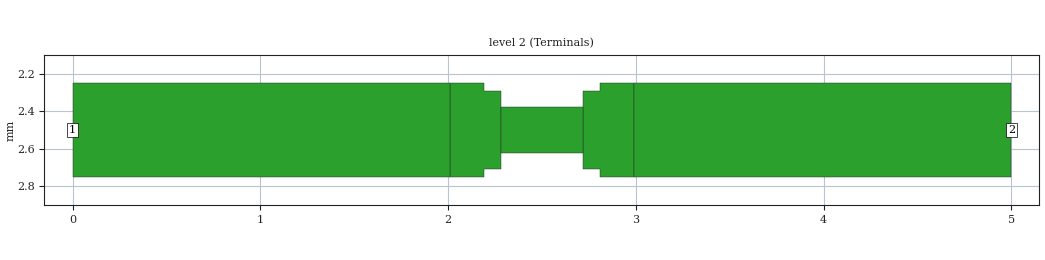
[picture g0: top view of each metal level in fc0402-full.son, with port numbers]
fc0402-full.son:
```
FTYP SONPROJ 19 ! Sonnet Project File
VER 18.52
HEADER
LIC antikernel2.1.51176
DAT 11/28/2021 23:45:44
BUILT_BY_CREATED xgeom 18.52 11/28/2021 22:49:20
BUILT_BY_SAVED sonnet 18.52
MDATE 11/28/2021 23:45:44
HDATE 11/28/2021 23:45:44
END HEADER
DIM
ANG DEG
CAP PF
CON /OH
FREQ GHZ
IND NH
LNG MM
RES OH
END DIM
CONTROL
VARSWP
OPTIONS  -dj
SPEED 0
CACHE_ABS 2
Q_ACC N
END CONTROL
GEO
SYM
DRP1 LEFT LINK
POLY 141 1
0
DRP1 RIGHT LINK
POLY 137 1
0
TMET "Free Space" 0 FREESPACE 376.7303136 0 0 0
BMET "Free Space" 0 FREESPACE 376.7303136 0 0 0
MET "Copper" 1 TMM 58000000 0.5 0.0175 2
MET "Metal1" 2 RES 110  0.005
BRI "Alumina" 1 9.9 0.0001 0 
BOX 3 5 5 1000 1000 20 0
      5 1 1 0 0 0 0 "Air"
      0.381 1 1 0 0 0 5 "Air"
      0.0175 1 1 0 0 0 5 "Air"
      5 1 1 0 0 0 0 "Substrate"
TECHLAY BRICK Body <UNSPECIFIED> -4 -65534 
BRI POLY
1 0 1 N 190 1 1 100 100 0 0 0 Y
END
END
TECHLAY METAL Terminals <UNSPECIFIED> -2 -65534 
2 0 0 N 112 1 1 100 100 0 0 0 Y
END
END
TECHLAY METAL Resistor <UNSPECIFIED> -3 -65534 
2 0 1 N 116 1 1 100 100 0 0 0 Y
END
END
DIM STD XDIR 1
POS 0.4058644552 -0.06572821911
NOM 0.18
REF1 POLY 34 1
5
REF2 POLY 34 1
4
END
DIM STD YDIR -1
POS -0.1416768771 -0.2174602059
NOM 0.5
REF1 POLY 34 1
6
REF2 POLY 34 1
5
END
DIM STD XDIR -1
POS -0.0329053812 -0.005911455394
NOM 0.09
REF1 POLY 34 1
2
REF2 POLY 34 1
3
END
DIM STD YDIR -1
POS 0.02874469196 -0.08764620787
NOM 0.09
REF1 POLY 38 1
0
REF2 POLY 34 1
2
END
DIM STD YDIR -1
POS 0.04065680991 -0.0764893289
NOM 0.09
REF1 POLY 34 1
1
REF2 POLY 38 1
3
END
DIM STD YDIR -1
POS -0.1065980287 -0.200907452
NOM 0.24
REF1 POLY 38 1
2
REF2 POLY 38 1
1
END
DIM STD XDIR 1
POS 0.0329053812 -0.005911455394
NOM 0.09
REF1 POLY 45 1
2
REF2 POLY 45 1
3
END
DIM STD XDIR -1
POS -0.5675764103 -0.09343634565
NOM 1.02
REF1 POLY 81 1
1
REF2 POLY 81 1
0
END
DIM STD YDIR 1
POS 0.0431181699 0.3425471713
NOM 0.54
REF1 POLY 81 1
1
REF2 POLY 81 1
2
END
DIM STD XDIR 1
POS 0.2624347856 -0.01845001625
NOM 0.44
REF1 POLY 38 1
0
REF2 POLY 38 1
1
END
LORGN 0 5 U 
POR1 BOX
POLY 137 1
2
2 50 0 0 0 5 2.5 
POR1 BOX
POLY 141 1
2
1 50 0 0 0 0 2.5 
NUM 6
BRI POLY
1 5 1 N 81 1 1 100 100 0 0 0 Y
TLAYNAM Body INH
1.99 2.23
3.01 2.23
3.01 2.77
1.99 2.77
1.99 2.23
END
2 9 0 N 34 1 1 100 100 0 0 0 Y
TLAYNAM Terminals INH
2.19 2.71
2.28 2.71
2.28 2.29
2.19 2.29
2.19 2.25
2.01 2.25
2.01 2.75
2.19 2.75
2.19 2.71
END
2 9 0 N 45 1 1 100 100 0 0 0 Y
TLAYNAM Terminals INH
2.81 2.71
2.72 2.71
2.72 2.29
2.81 2.29
2.81 2.25
2.99 2.25
2.99 2.75
2.81 2.75
2.81 2.71
END
2 5 0 N 137 1 1 100 100 0 0 0 Y
TLAYNAM Terminals INH
2.99 2.25
2.99 2.75
5 2.75
5 2.25
2.99 2.25
END
2 5 0 N 141 1 1 100 100 0 0 0 Y
TLAYNAM Terminals INH
2.01 2.25
2.01 2.75
0 2.75
0 2.25
2.01 2.25
END
2 5 1 N 38 1 1 100 100 0 0 0 Y
TLAYNAM Resistor INH
2.28 2.38
2.72 2.38
2.72 2.62
2.28 2.62
2.28 2.38
END
END GEO
OPT
MAX 100
END OPT
VARSWP
ENABLED Y
FREQ Y AY ABS_ENTRY 0.01 40.0 -1 300 
END
END VARSWP
3DOPTIONS
GLOBAL 1
ALL 3 1
END 3DOPTIONS
```
